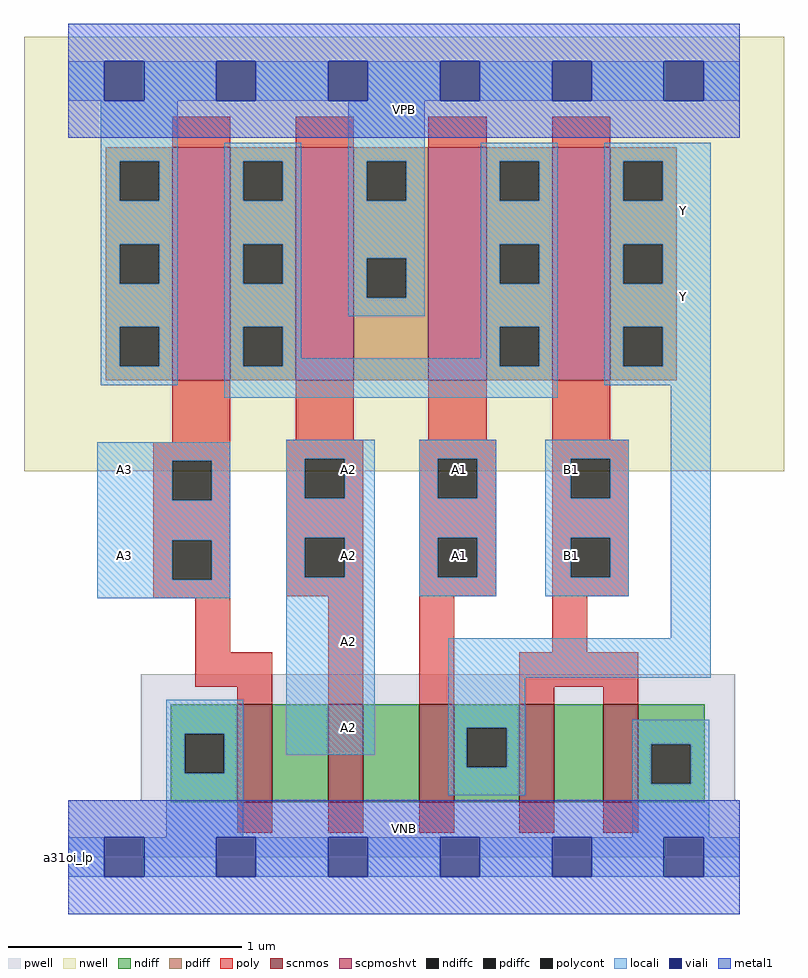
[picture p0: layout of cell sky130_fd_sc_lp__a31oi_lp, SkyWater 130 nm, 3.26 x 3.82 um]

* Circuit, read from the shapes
.subckt sky130_fd_sc_lp__a31oi_lp A1 A2 A3 B1 VGND VNB VPB VPWR Y
XM1 n1 A3 VGND VNB sky130_fd_pr__nfet_01v8 w=0.42 l=0.15
XM2 n2 A2 n1 VNB sky130_fd_pr__nfet_01v8 w=0.42 l=0.15
XM3 Y A1 n2 VNB sky130_fd_pr__nfet_01v8 w=0.42 l=0.15
XM4 n3 B1 Y VNB sky130_fd_pr__nfet_01v8 w=0.42 l=0.15
XM5 VGND B1 n3 VNB sky130_fd_pr__nfet_01v8 w=0.42 l=0.15
XM6 n4 A3 VPWR VPB sky130_fd_pr__pfet_01v8_hvt w=1 l=0.25
XM7 VPWR A2 n4 VPB sky130_fd_pr__pfet_01v8_hvt w=1 l=0.25
XM8 n4 A1 VPWR VPB sky130_fd_pr__pfet_01v8_hvt w=1 l=0.25
XM9 Y B1 n4 VPB sky130_fd_pr__pfet_01v8_hvt w=1 l=0.25
.ends

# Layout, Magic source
magic
tech sky130A
magscale 1 2
<< nwell >>
rect -38 331 614 704
<< pwell >>
rect 62 49 572 157
rect 0 0 576 49
<< scnmos >>
rect 145 47 175 131
rect 223 47 253 131
rect 301 47 331 131
rect 387 47 417 131
rect 459 47 489 131
<< scpmoshvt >>
rect 89 409 139 609
rect 195 409 245 609
rect 309 409 359 609
rect 415 409 465 609
<< ndiff >>
rect 88 106 145 131
rect 88 72 100 106
rect 134 72 145 106
rect 88 47 145 72
rect 175 47 223 131
rect 253 47 301 131
rect 331 111 387 131
rect 331 77 342 111
rect 376 77 387 111
rect 331 47 387 77
rect 417 47 459 131
rect 489 97 546 131
rect 489 63 500 97
rect 534 63 546 97
rect 489 47 546 63
<< pdiff >>
rect 32 597 89 609
rect 32 563 44 597
rect 78 563 89 597
rect 32 526 89 563
rect 32 492 44 526
rect 78 492 89 526
rect 32 455 89 492
rect 32 421 44 455
rect 78 421 89 455
rect 32 409 89 421
rect 139 597 195 609
rect 139 563 150 597
rect 184 563 195 597
rect 139 526 195 563
rect 139 492 150 526
rect 184 492 195 526
rect 139 455 195 492
rect 139 421 150 455
rect 184 421 195 455
rect 139 409 195 421
rect 245 597 309 609
rect 245 563 256 597
rect 290 563 309 597
rect 245 514 309 563
rect 245 480 256 514
rect 290 480 309 514
rect 245 409 309 480
rect 359 597 415 609
rect 359 563 370 597
rect 404 563 415 597
rect 359 526 415 563
rect 359 492 370 526
rect 404 492 415 526
rect 359 455 415 492
rect 359 421 370 455
rect 404 421 415 455
rect 359 409 415 421
rect 465 597 522 609
rect 465 563 476 597
rect 510 563 522 597
rect 465 526 522 563
rect 465 492 476 526
rect 510 492 522 526
rect 465 455 522 492
rect 465 421 476 455
rect 510 421 522 455
rect 465 409 522 421
<< ndiffc >>
rect 100 72 134 106
rect 342 77 376 111
rect 500 63 534 97
<< pdiffc >>
rect 44 563 78 597
rect 44 492 78 526
rect 44 421 78 455
rect 150 563 184 597
rect 150 492 184 526
rect 150 421 184 455
rect 256 563 290 597
rect 256 480 290 514
rect 370 563 404 597
rect 370 492 404 526
rect 370 421 404 455
rect 476 563 510 597
rect 476 492 510 526
rect 476 421 510 455
<< poly >>
rect 89 609 139 635
rect 195 609 245 635
rect 309 609 359 635
rect 415 609 465 635
rect 89 356 139 409
rect 195 358 245 409
rect 309 358 359 409
rect 415 358 465 409
rect 73 340 139 356
rect 73 306 89 340
rect 123 306 139 340
rect 73 272 139 306
rect 73 238 89 272
rect 123 238 139 272
rect 73 222 139 238
rect 187 342 253 358
rect 187 308 203 342
rect 237 308 253 342
rect 187 274 253 308
rect 187 240 203 274
rect 237 240 253 274
rect 187 224 253 240
rect 109 176 139 222
rect 109 146 175 176
rect 145 131 175 146
rect 223 131 253 224
rect 301 342 367 358
rect 301 308 317 342
rect 351 308 367 342
rect 301 274 367 308
rect 301 240 317 274
rect 351 240 367 274
rect 301 224 367 240
rect 415 342 481 358
rect 415 308 431 342
rect 465 308 481 342
rect 415 274 481 308
rect 415 240 431 274
rect 465 240 481 274
rect 415 224 481 240
rect 301 131 331 224
rect 415 176 445 224
rect 387 146 489 176
rect 387 131 417 146
rect 459 131 489 146
rect 145 21 175 47
rect 223 21 253 47
rect 301 21 331 47
rect 387 21 417 47
rect 459 21 489 47
<< polycont >>
rect 89 306 123 340
rect 89 238 123 272
rect 203 308 237 342
rect 203 240 237 274
rect 317 308 351 342
rect 317 240 351 274
rect 431 308 465 342
rect 431 240 465 274
<< locali >>
rect 0 649 31 683
rect 65 649 127 683
rect 161 649 223 683
rect 257 649 319 683
rect 353 649 415 683
rect 449 649 511 683
rect 545 649 576 683
rect 28 597 94 649
rect 28 563 44 597
rect 78 563 94 597
rect 28 526 94 563
rect 28 492 44 526
rect 78 492 94 526
rect 28 455 94 492
rect 28 421 44 455
rect 78 421 94 455
rect 28 405 94 421
rect 134 597 200 613
rect 134 563 150 597
rect 184 563 200 597
rect 134 526 200 563
rect 134 492 150 526
rect 184 492 200 526
rect 134 455 200 492
rect 240 597 306 649
rect 240 563 256 597
rect 290 563 306 597
rect 240 514 306 563
rect 240 480 256 514
rect 290 480 306 514
rect 240 464 306 480
rect 354 597 420 613
rect 354 563 370 597
rect 404 563 420 597
rect 354 526 420 563
rect 354 492 370 526
rect 404 492 420 526
rect 134 421 150 455
rect 184 428 200 455
rect 354 455 420 492
rect 354 428 370 455
rect 184 421 370 428
rect 404 421 420 455
rect 134 394 420 421
rect 460 597 551 613
rect 460 563 476 597
rect 510 563 551 597
rect 460 526 551 563
rect 460 492 476 526
rect 510 492 551 526
rect 460 455 551 492
rect 460 421 476 455
rect 510 421 551 455
rect 460 405 551 421
rect 25 340 139 356
rect 25 306 89 340
rect 123 306 139 340
rect 25 272 139 306
rect 25 238 89 272
rect 123 238 139 272
rect 25 222 139 238
rect 187 342 263 358
rect 187 308 203 342
rect 237 308 263 342
rect 187 274 263 308
rect 187 240 203 274
rect 237 240 263 274
rect 84 106 150 135
rect 84 72 100 106
rect 134 72 150 106
rect 187 88 263 240
rect 301 342 367 358
rect 301 308 317 342
rect 351 308 367 342
rect 301 274 367 308
rect 301 240 317 274
rect 351 240 367 274
rect 301 224 367 240
rect 409 342 481 358
rect 409 308 431 342
rect 465 308 481 342
rect 409 274 481 308
rect 409 240 431 274
rect 465 240 481 274
rect 409 224 481 240
rect 517 188 551 405
rect 326 154 551 188
rect 326 111 392 154
rect 84 17 150 72
rect 326 77 342 111
rect 376 77 392 111
rect 326 53 392 77
rect 484 97 550 118
rect 484 63 500 97
rect 534 63 550 97
rect 484 17 550 63
rect 0 -17 31 17
rect 65 -17 127 17
rect 161 -17 223 17
rect 257 -17 319 17
rect 353 -17 415 17
rect 449 -17 511 17
rect 545 -17 576 17
<< viali >>
rect 31 649 65 683
rect 127 649 161 683
rect 223 649 257 683
rect 319 649 353 683
rect 415 649 449 683
rect 511 649 545 683
rect 31 -17 65 17
rect 127 -17 161 17
rect 223 -17 257 17
rect 319 -17 353 17
rect 415 -17 449 17
rect 511 -17 545 17
<< metal1 >>
rect 0 683 576 715
rect 0 649 31 683
rect 65 649 127 683
rect 161 649 223 683
rect 257 649 319 683
rect 353 649 415 683
rect 449 649 511 683
rect 545 649 576 683
rect 0 617 576 649
rect 0 17 576 49
rect 0 -17 31 17
rect 65 -17 127 17
rect 161 -17 223 17
rect 257 -17 319 17
rect 353 -17 415 17
rect 449 -17 511 17
rect 545 -17 576 17
rect 0 -49 576 -17
<< labels >>
flabel pwell s 0 0 576 49 0 FreeSans 200 0 0 0 VNB
port 6 nsew ground bidirectional
flabel nwell s 0 617 576 666 0 FreeSans 200 0 0 0 VPB
port 7 nsew power bidirectional
rlabel comment s 0 0 0 0 4 a31oi_lp
flabel metal1 s 0 617 576 666 0 FreeSans 340 0 0 0 VPWR
port 8 nsew power bidirectional
flabel metal1 s 0 0 576 49 0 FreeSans 340 0 0 0 VGND
port 5 nsew ground bidirectional
flabel locali s 511 464 545 498 0 FreeSans 340 0 0 0 Y
port 9 nsew signal output
flabel locali s 511 538 545 572 0 FreeSans 340 0 0 0 Y
port 9 nsew signal output
flabel locali s 223 94 257 128 0 FreeSans 340 0 0 0 A2
port 2 nsew signal input
flabel locali s 223 168 257 202 0 FreeSans 340 0 0 0 A2
port 2 nsew signal input
flabel locali s 223 242 257 276 0 FreeSans 340 0 0 0 A2
port 2 nsew signal input
flabel locali s 223 316 257 350 0 FreeSans 340 0 0 0 A2
port 2 nsew signal input
flabel locali s 319 242 353 276 0 FreeSans 340 0 0 0 A1
port 1 nsew signal input
flabel locali s 319 316 353 350 0 FreeSans 340 0 0 0 A1
port 1 nsew signal input
flabel locali s 31 242 65 276 0 FreeSans 340 0 0 0 A3
port 3 nsew signal input
flabel locali s 31 316 65 350 0 FreeSans 340 0 0 0 A3
port 3 nsew signal input
flabel locali s 415 242 449 276 0 FreeSans 340 0 0 0 B1
port 4 nsew signal input
flabel locali s 415 316 449 350 0 FreeSans 340 0 0 0 B1
port 4 nsew signal input
<< properties >>
string LEFsite unit
string LEFclass CORE
string FIXED_BBOX 0 0 576 666
string GDS_FILE $PDKPATH/libs.ref/sky130_fd_sc_lp/gds/sky130_fd_sc_lp.gds
string LEFsymmetry X Y R90
string GDS_END 3424846
string GDS_START 3418280
<< end >>
